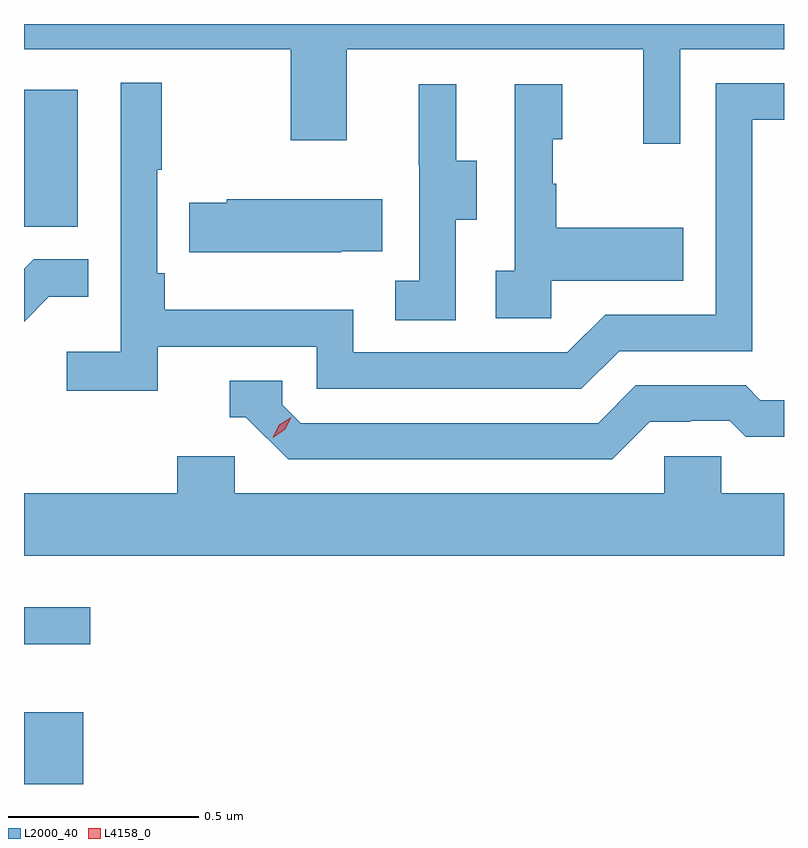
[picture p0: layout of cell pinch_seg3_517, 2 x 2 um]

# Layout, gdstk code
import gdstk
lib = gdstk.Library(unit=1e-6, precision=1e-09)
def R(c, l, rs):  # rectangles x0, y0, x1, y1
    for r in rs: c.add(gdstk.rectangle(r[:2], r[2:], *l))
def P(c, l, *ps):  # polygons
    for p in ps: c.add(gdstk.Polygon(p, *l))
L2000_40 = (2000, 40)
L4158_0 = (4158, 0)

pinch_seg3_517 = lib.new_cell('pinch_seg3_517')
R(pinch_seg3_517, L2000_40, [(965.656,673.675,965.812,673.864), (965.656,674.043,965.83,674.14), (965.656,675.141,965.797,675.502)])
P(pinch_seg3_517, L2000_40, [(967.383,675.608),(967.656,675.608),(967.656,675.675),(965.656,675.675),(965.656,675.608),(966.358,675.608),(966.358,675.369),(966.505,675.369),(966.505,675.608),(967.286,675.608),(967.286,675.36),(967.383,675.36)],
  [(966.008,674.826),(966.426,674.826),(966.426,674.715),(967.123,674.715),(967.222,674.814),(967.572,674.814),(967.572,675.423),(967.656,675.423),(967.656,675.519),(967.476,675.519),(967.476,674.91),(967.185,674.91),(967.086,674.811),(966.522,674.811),(966.522,674.923),(966.026,674.923),(966.026,675.019),(966.006,675.019),(966.006,675.292),(966.019,675.292),(966.019,675.52),(965.91,675.52),(965.91,674.812),(965.769,674.812),(965.769,674.71),(966.008,674.71)],
  [(967.044,674.999),(967.391,674.999),(967.391,675.139),(967.057,675.139),(967.057,675.254),(967.047,675.254),(967.047,675.372),(967.072,675.372),(967.072,675.517),(966.948,675.517),(966.948,675.026),(966.897,675.026),(966.897,674.901),(967.044,674.901)],
  [(966.792,675.16),(966.847,675.16),(966.847,675.315),(966.793,675.315),(966.793,675.517),(966.695,675.517),(966.695,675.303),(966.696,675.303),(966.696,674.999),(966.633,674.999),(966.633,674.896),(966.792,674.896)],
  [(966.491,675.077),(966.599,675.077),(966.599,675.214),(966.189,675.214),(966.189,675.204),(966.091,675.204),(966.091,675.074),(966.491,675.074)],
  [(965.721,674.957),(965.825,674.957),(965.825,675.056),(965.681,675.056),(965.656,675.031),(965.656,674.892)],
  [(967.303,674.628),(967.41,674.628),(967.41,674.631),(967.513,674.631),(967.555,674.589),(967.656,674.589),(967.656,674.685),(967.594,674.685),(967.555,674.724),(967.266,674.724),(967.167,674.625),(966.384,674.625),(966.336,674.673),(966.336,674.736),(966.197,674.736),(966.197,674.64),(966.24,674.64),(966.351,674.529),(967.204,674.529)],
  [(967.656,674.44),(967.491,674.44),(967.491,674.538),(967.341,674.538),(967.341,674.44),(966.21,674.44),(966.21,674.538),(966.059,674.538),(966.059,674.44),(965.656,674.44),(965.656,674.276),(967.656,674.276)])
P(pinch_seg3_517, L4158_0, [(966.311,674.588),(966.311,674.588),(966.328,674.621),(966.359,674.64),(966.359,674.64),(966.359,674.64),(966.342,674.607),(966.312,674.588)])

lib.write_gds('pinch_seg3_517.gds')
